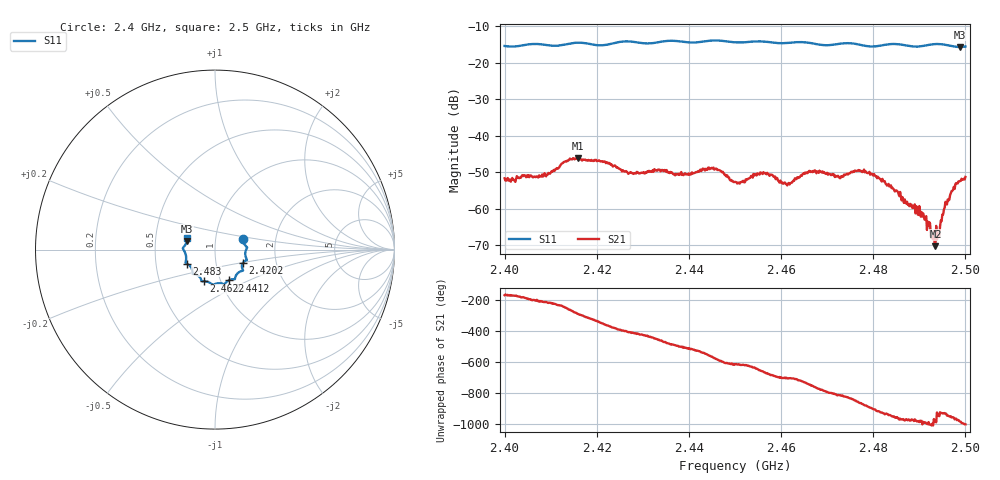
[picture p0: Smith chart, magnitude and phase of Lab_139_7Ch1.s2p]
# Hz S RI R 50
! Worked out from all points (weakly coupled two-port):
!   601 points, 2.4 GHz to 2.5 GHz, reference 50 ohm
!   highest |S21| = -46.16 dB at 2.416 GHz (marker M1); lowest = -70.2 dB at 2.4935 GHz (marker M2)
!   lowest |S11| = -15.8 dB at 2.4988 GHz (marker M3), VSWR 1.39, Z = 36.3 + j3.46 ohm
!   |S11| at or under -10 dB: start of sweep to end of sweep
!   S12 and S22 are empty: the file has one direction only
!   S11 on the Smith chart (normalised r, x): 2.4 GHz: 1.36, +0.17; 2.4202 GHz: 1.35, -0.20; 2.4412 GHz: 1.09, -0.39; 2.4622 GHz: 0.83, -0.30; 2.483 GHz: 0.72, -0.12; 2.5 GHz: 0.73, +0.09
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2.4e9  0.1573 0.0603  -0.00256 -0.000488  0 0  0 0
2.408833e9  0.1744 0.00216  -0.00243 0.00163  0 0  0 0
2.416e9  0.178 -0.0576  0.00181 0.00458  0 0  0 0
2.416667e9  0.1769 -0.0588  0.00226 0.00414  0 0  0 0
2.420167e9  0.1569 -0.0726  0.00422 0.00156  0 0  0 0
2.427333e9  0.1541 -0.1176  0.00201 -0.00245  0 0  0 0
2.433333e9  0.1132 -0.1519  -0.000527 -0.0034  0 0  0 0
2.441167e9  0.0759 -0.1719  -0.00295 -0.00091  0 0  0 0
2.4455e9  0.0524 -0.1933  -0.00275 0.00205  0 0  0 0
2.45e9  0.0267 -0.1872  -0.000564 0.00227  0 0  0 0
2.456e9  -0.0146 -0.1938  0.00159 0.00252  0 0  0 0
2.462167e9  -0.0625 -0.1766  0.00221 0.000491  0 0  0 0
2.466667e9  -0.0775 -0.1666  0.00272 -0.00178  0 0  0 0
2.473e9  -0.1199 -0.1361  -0.000472 -0.00273  0 0  0 0
2.4775e9  -0.1262 -0.1184  -0.00281 -0.00153  0 0  0 0
2.483e9  -0.1585 -0.0781  -0.00164 0.00127  0 0  0 0
2.483333e9  -0.1601 -0.0772  -0.00153 0.00156  0 0  0 0
2.4905e9  -0.1663 -0.0171  -0.000121 0.000888  0 0  0 0
2.4935e9  -0.1788 0.00529  -5.36e-05 0.000303  0 0  0 0
2.495833e9  -0.1733 0.0161  -0.000959 0.000699  0 0  0 0
2.498833e9  -0.1563 0.0463  -0.000129 0.00239  0 0  0 0
2.5e9  -0.1537 0.0621  0.000706 0.00263  0 0  0 0
